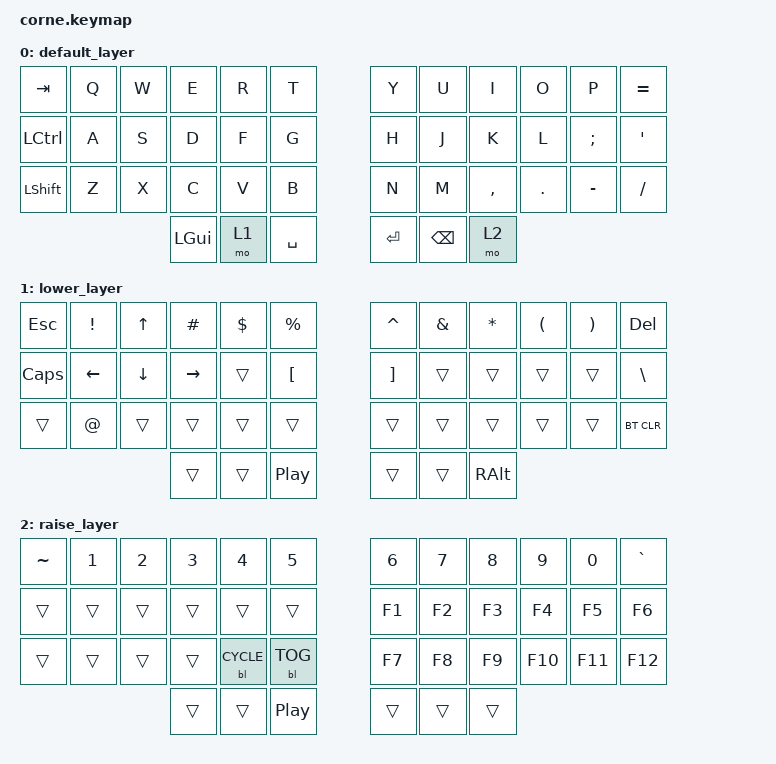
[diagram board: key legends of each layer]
/*
 * Copyright (c) 2020 The ZMK Contributors
 *
 * SPDX-License-Identifier: MIT
 */

#include <behaviors.dtsi>
#include <dt-bindings/zmk/keys.h>
#include <dt-bindings/zmk/bt.h>
#include <dt-bindings/zmk/backlight.h>

/ {
        keymap {
                compatible = "zmk,keymap";

                default_layer {
// -----------------------------------------------------------------------------------------
// |  TAB |  Q  |  W  |  E  |  R  |  T  |   |  Y  |  U   |  I  |  O  |  P  | =    |
// | CTRL |  A  |  S  |  D  |  F  |  G  |   |  H  |  J   |  K  |  L  |  ;  |  '   |
// | SHFT |  Z  |  X  |  C  |  V  |  B  |   |  N  |  M   |  ,  |  .  |  /  | ESC  |
//                    | GUI | MO1 | SPC |   | ENT | BSP  | MO2 |
                        bindings = <
   &kp TAB   &kp Q &kp W &kp E &kp R &kp T   &kp Y &kp U  &kp I     &kp O   &kp P    &kp EQUAL
   &kp LCTRL &kp A &kp S &kp D &kp F &kp G   &kp H &kp J  &kp K     &kp L   &kp SEMI &kp SQT
   &kp LSHFT &kp Z &kp X &kp C &kp V &kp B   &kp N &kp M  &kp COMMA &kp DOT &kp MINUS &kp FSLH
                  &kp LGUI &mo 1 &kp SPACE   &kp RET &kp BSPC &mo 2
                        >;
                };
                lower_layer {
// -----------------------------------------------------------------------------------------
// |  ESC |  !  |  UP |  #  |  $  |  %  |   |  %  |  &  |  *  |  (  |  )  | DEL    |
// | CAPS | LFT | DWN | RGT |     | [   |   | ]   |     |     |     |     |  \     |
// |      |  @  |     |     |     |     |   |     |     |     |     |     | BT_CLR |
//                    |     |     | PLAY|   |     |     | ALT |
                        bindings = <
   &kp ESC    &kp EXCL       &kp UP       &kp HASH       &kp DLLR       &kp PERCENT         &kp CARET   &kp AMPS   &kp STAR &kp LPAR    &kp RPAR &kp DEL
   &kp CAPS &kp LEFT &kp DOWN &kp RIGHT &trans &kp LBKT   &kp RBKT &trans &trans &trans &trans &kp BSLH
   &trans  &kp AT       &trans       &trans       &trans       &trans         &trans   &trans   &trans &trans    &trans &bt BT_CLR
                                    &trans     &trans       &kp C_PP      &trans  &trans   &kp RALT
                        >;
                };

                raise_layer {
// -----------------------------------------------------------------------------------------
// |  ~   |  1  |  2  |  3  |  4  |  5  |   |  6  |  7  |  8  |  9  |  0  | `    |
// |      |     |     |     |     |     |   |  F1 |  F2 |  F3 |  F4 |  F5 |  F6  |
// |      |     |     | RGBM| RGBT|     |   |  F7 |  F8 |  F9 | F10 | F11 |  F12 |
//                    |     |     | PLAY|   |     |     |     |
                        bindings = <
   &kp  TILDE  &kp N1 &kp N2 &kp N3 &kp N4 &kp N5   &kp N6 &kp N7  &kp N8 &kp N9 &kp N0 &kp GRAVE
   &trans &trans   &trans &trans   &trans   &trans      &kp F1 &kp F2  &kp F3        &kp F4 &kp F5 &kp F6
   &trans &trans   &trans &trans   &bl BL_CYCLE &bl BL_TOG      &kp F7 &kp F8  &kp F9        &kp F10 &kp F11 &kp F12
                             &trans &trans   &kp C_PP   &trans   &trans    &trans
                        >;
                };
        };
};
